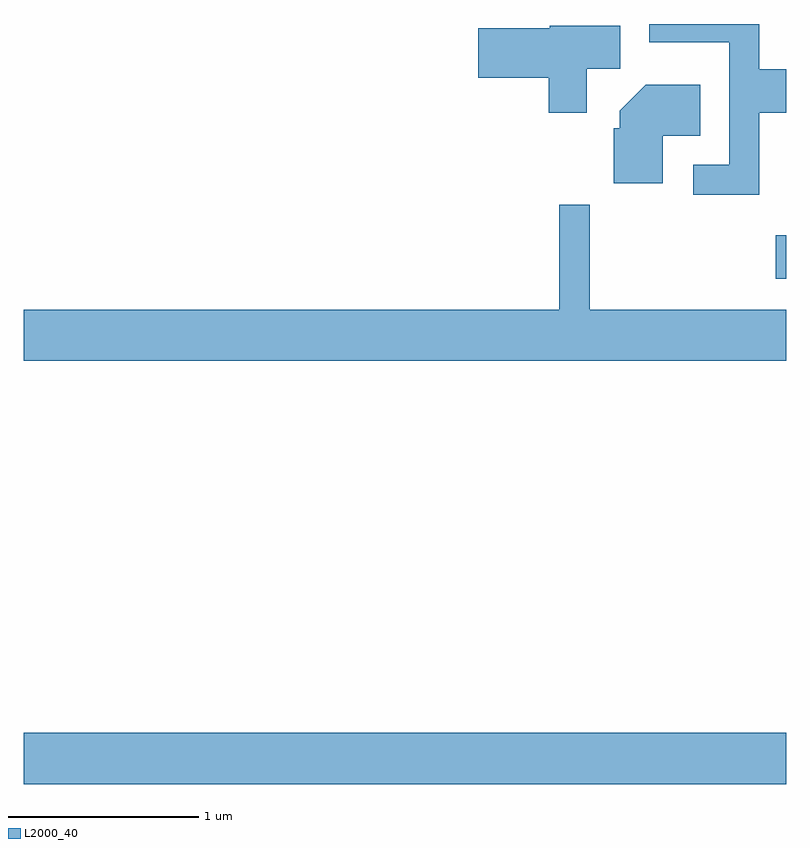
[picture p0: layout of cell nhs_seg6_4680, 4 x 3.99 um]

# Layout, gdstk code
import gdstk
lib = gdstk.Library(unit=1e-6, precision=1e-09)
def R(c, l, rs):  # rectangles x0, y0, x1, y1
    for r in rs: c.add(gdstk.rectangle(r[:2], r[2:], *l))
def P(c, l, *ps):  # polygons
    for p in ps: c.add(gdstk.Polygon(p, *l))
L2000_40 = (2000, 40)

nhs_seg6_4680 = lib.new_cell('nhs_seg6_4680')
R(nhs_seg6_4680, L2000_40, [(327.611,1632.176,331.611,1632.444), (331.556,1634.826,331.611,1635.054)])
P(nhs_seg6_4680, L2000_40, [(331.469,1635.696),(331.611,1635.696),(331.611,1635.924),(331.469,1635.924),(331.469,1636.162),(330.891,1636.162),(330.891,1636.066),(331.311,1636.066),(331.311,1635.424),(331.123,1635.424),(331.123,1635.266),(331.469,1635.266)],
  [(330.564,1635.926),(330.739,1635.926),(330.739,1636.154),(330.37,1636.154),(330.37,1636.139),(329.996,1636.139),(329.996,1635.881),(330.366,1635.881),(330.366,1635.696),(330.564,1635.696)],
  [(330.964,1635.576),(331.159,1635.576),(331.159,1635.844),(330.874,1635.844),(330.736,1635.707),(330.736,1635.614),(330.706,1635.614),(330.706,1635.326),(330.964,1635.326)],
  [(331.611,1634.664),(330.579,1634.664),(330.579,1635.213),(330.421,1635.213),(330.421,1634.664),(327.611,1634.664),(327.611,1634.396),(331.611,1634.396)])

lib.write_gds('nhs_seg6_4680.gds')
